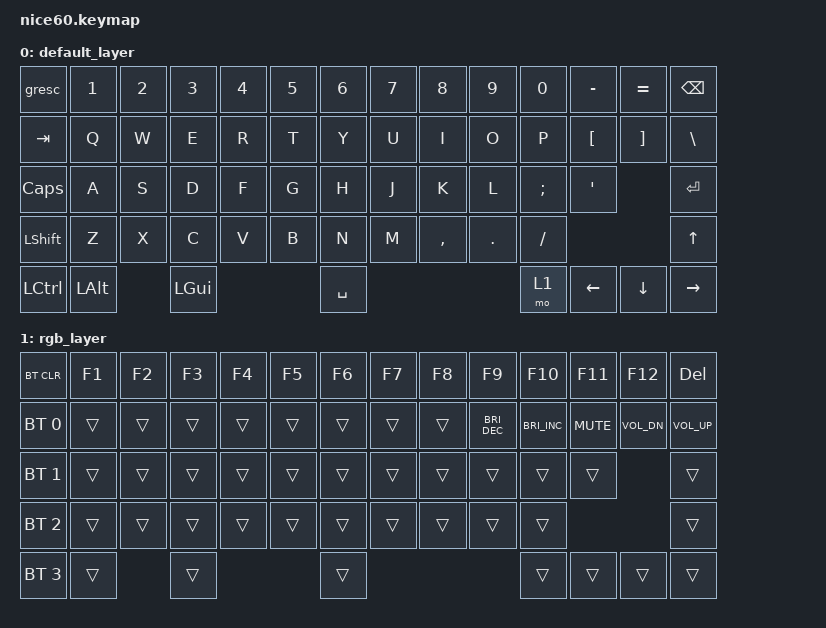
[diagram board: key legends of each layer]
/*
 * Copyright (c) 2021 Nick Winans
 *
 * SPDX-License-Identifier: MIT
 */

#include <behaviors.dtsi>
#include <dt-bindings/zmk/reset.h>
#include <dt-bindings/zmk/bt.h>
#include <dt-bindings/zmk/keys.h>

/ {
    keymap {
        compatible = "zmk,keymap";

        default_layer {
            bindings = <
&gresc     &kp N1        &kp N2  &kp N3        &kp N4  &kp N5  &kp N6     &kp N7  &kp N8     &kp N9   &kp N0    &kp MINUS  &kp EQUAL       &kp BSPC
&kp TAB    &kp Q         &kp W   &kp E         &kp R   &kp T   &kp Y      &kp U   &kp I      &kp O    &kp P     &kp LBKT   &kp RBKT        &kp BSLH
&kp CLCK   &kp A         &kp S   &kp D         &kp F   &kp G   &kp H      &kp J   &kp K      &kp L    &kp SEMI  &kp SQT                    &kp RET
&kp LSHFT  &kp Z         &kp X   &kp C         &kp V   &kp B   &kp N      &kp M   &kp COMMA  &kp DOT  &kp FSLH                             &kp UP_ARROW
&kp LCTRL  &kp LEFT_ALT          &kp LEFT_GUI                  &kp SPACE                              &mo 1     &kp LEFT   &kp DOWN_ARROW  &kp RIGHT
            >;
        };

        rgb_layer {
            bindings = <
&bt BT_CLR    &kp F1  &kp F2  &kp F3  &kp F4  &kp F5  &kp F6  &kp F7  &kp F8  &kp F9         &kp F10               &kp F11     &kp F12       &kp DELETE
&bt BT_SEL 0  &trans  &trans  &trans  &trans  &trans  &trans  &trans  &trans  &kp C_BRI_DEC  &kp C_BRIGHTNESS_INC  &kp K_MUTE  &kp C_VOL_DN  &kp C_VOLUME_UP
&bt BT_SEL 1  &trans  &trans  &trans  &trans  &trans  &trans  &trans  &trans  &trans         &trans                &trans                    &trans
&bt BT_SEL 2  &trans  &trans  &trans  &trans  &trans  &trans  &trans  &trans  &trans         &trans                                          &trans
&bt BT_SEL 3  &trans          &trans                  &trans                                 &trans                &trans      &trans        &trans
            >;
        };
    };
};
